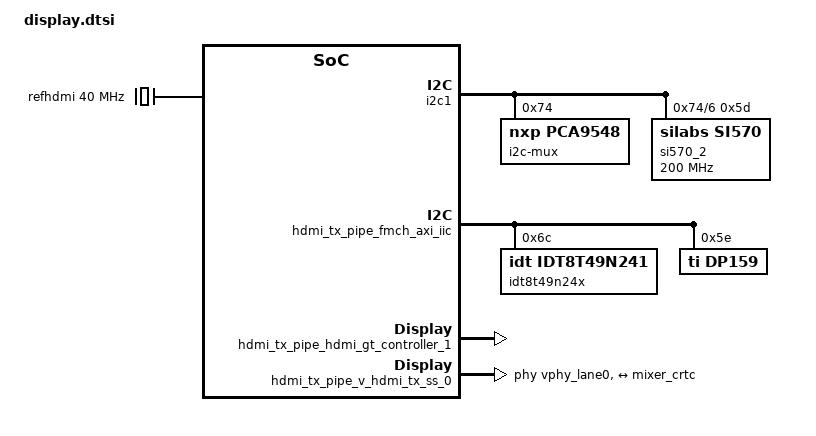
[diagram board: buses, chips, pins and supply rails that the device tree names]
&i2c1 {
	i2c-mux@74 {
		compatible = "nxp,pca9548";
		#address-cells = <1>;
		#size-cells = <0>;
		reg = <0x74>;

		i2c@6 {
			#address-cells = <1>;
			#size-cells = <0>;
			reg = <6>;
			si570_2: clock-generator@5d {
				#clock-cells = <0>;
				compatible = "silabs,si570";
				reg = <0x5d>;
				temperature-stability = <50>;
				factory-fout = <156250000>;
				clock-frequency = <200000000>;
				clock-output-names = "si570_mgt";
			};
		};
	};
};

&amba_pl {
	display_pipe_v_mix_0: v_mix@a4040000 {
		clock-names = "ap_clk";
		clocks = <&misc_clk_0>;
		compatible = "xlnx,mixer-5.0";
		interrupt-names = "interrupt";
		interrupt-parent = <&gic>;
		interrupts = <0 86 4>;
		reg = <0x0 0xa4040000 0x0 0x10000>;
		reset-gpios = <&gpio0 26 1>;
		xlnx,bpc = <8>;
		xlnx,dma-addr-width = <32>;
		xlnx,num-layers = <10>;
		xlnx,ppc = <4>;
		crtc_mixer_port: port@0 {
			reg = <0>;
			mixer_crtc: endpoint {
			        remote-endpoint = <&hdmi_encoder>;
			};
		};
		xx_mix_master: layer_0 {
			/*dmas = <&v_frmbuf_rd 0>;
			dma-names = "dma0";*/
			xlnx,layer-id = <0>;
			xlnx,layer-max-height = <2160>;
			xlnx,layer-max-width = <3840>;
			/*xlnx,layer-streaming;*/
			xlnx,vformat = "RG24";
		};
		xx_mix_overlay_1: layer_1 {
			xlnx,layer-alpha ;
			xlnx,layer-id = <1>;
			xlnx,layer-max-width = <3840>;
			xlnx,vformat = "BG24";
		};
		xx_mix_overlay_2: layer_2 {
			xlnx,layer-alpha ;
			xlnx,layer-id = <2>;
			xlnx,layer-max-width = <3840>;
			xlnx,vformat = "BG24";
		};
		xx_mix_overlay_3: layer_3 {
			xlnx,layer-alpha ;
			xlnx,layer-id = <3>;
			xlnx,layer-max-width = <3840>;
			xlnx,vformat = "BG24";
		};
		xx_mix_overlay_4: layer_4 {
			xlnx,layer-alpha ;
			xlnx,layer-id = <4>;
			xlnx,layer-max-width = <3840>;
			xlnx,vformat = "BG24";
		};
		xx_mix_overlay_5: layer_5 {
			xlnx,layer-alpha ;
			xlnx,layer-id = <5>;
			xlnx,layer-max-width = <3840>;
			xlnx,vformat = "YUYV";
		};
		xx_mix_overlay_6: layer_6 {
			xlnx,layer-alpha ;
			xlnx,layer-id = <6>;
			xlnx,layer-max-width = <3840>;
			xlnx,vformat = "YUYV";
		};
		xx_mix_overlay_7: layer_7 {
			xlnx,layer-alpha ;
			xlnx,layer-id = <7>;
			xlnx,layer-max-width = <3840>;
			xlnx,vformat = "YUYV";
		};
		xx_mix_overlay_8: layer_8 {
			xlnx,layer-alpha ;
			xlnx,layer-id = <8>;
			xlnx,layer-max-width = <3840>;
			xlnx,vformat = "YUYV";
		};
		xx_mix_overlay_9: layer_9 {
			xlnx,layer-alpha ;
			xlnx,layer-id = <9>;
			xlnx,layer-max-width = <3840>;
			xlnx,vformat = "AR24";
			xlnx,layer-primary;
		};
	};

	refhdmi: refhdmi {
		compatible = "fixed-clock";
		#clock-cells = <0>;
		clock-frequency = <40000000>;
	};

	hdmi_tx_pipe_fmch_axi_iic: i2c@a4010000 {
		#address-cells = <1>;
		#size-cells = <0>;
		clock-names = "s_axi_aclk";
		clocks = <&versal_clk 65>;
		compatible = "xlnx,axi-iic-2.0", "xlnx,xps-iic-2.00.a";
		reg = <0x0 0xa4010000 0x0 0x10000>;
		interrupt-names = "iic2intc_irpt";
		interrupt-parent = <&gic>;
		interrupts = <0 87 4>;

		idt8t49n24x: clock-generator@6c {
			status = "okay";
			compatible = "idt,idt8t49n241";
			#clock-cells = <1>;
			reg = <0x6c>;

			clocks = <&refhdmi>;
			clock-names = "input-xtal";

			settings = [
				09 50 00 60 67 c5 6c 01 03 00 31 00 01 40 00 01 40 00 74 04 00 74 04 77 6d 00 00 00 00 00 00 ff
				ff ff ff 01 3f 00 2e 00 0d 00 00 00 01 00 00 d0 08 00 00 00 00 00 08 00 00 00 00 00 00 44 44 00
				00 00 00 00 00 00 00 00 00 00 00 00 00 00 00 00 00 00 00 00 00 00 00 00 00 00 00 00 00 00 00 00
				00 00 00 00 00 00 00 00 e9 0a 2b 20 00 00 00 0f 00 00 00 0e 00 00 0e 00 00 00 27 00 00 00 00 00
				00 00 00 00 00 00 00 00 00 00 00 00 00 00 00 00 00 00 00 00 00 00 00 00 00 00 00 00 00 00 00 00
				00 00 00 00 00 00 00 00 00 00 00 00 00 00 00 00 00 00 00 00 00 00 00 00 00 00 00 00 00 00 00 00
				00 00 00 00 00 00 00 00 00 00 00 00 00 00 00 00 00 00 00 00 00 00 00 00 00 00 00 00 00 00 00 00
				00 00 00 00 00 00 00 00 00 00 00 00 00 00 00 00 00 00 00 00 00 00 00 00 00 00 00 00 00 00 00 00
				00 00 00 00 00 00 00 00 00 00 00 00 00 00 00 00 00 00 00 00 00 00 00 00 00 00 00 00 00 00 00 00
				00 00 00 00 00 00 00 00 00 00 00 00 00 00 00 00 00 00 00 00 00 00 00 00 00 00 00 00 00 00 00 00
				00 00 00 00 00 00 00 00 00 00 00 00 00 00 00 00 00 00 00 00 00 00 00 00 00 00 00 00 00 00 00 00
				00 00 00 00 00 00 00 00 00 00 00 00 00 00 00 00 00 00 00 00 00 00 00 00 00 00 00 00 00 00 00 00
				00 00 00 00 00 00 00 00 00 00 00 00 00 00 00 00 00 00 00 00 00 00 00 00 00 00 00 00 00 00 00 00
				00 00 00 00 00 00 00 00 00 00 00 00 00 00 00 00 00 00 00 00 00 00 00 00 00 00 00 00 00 00 00 00
				00 00 00 00 00 00 00 00 00 00 00 00 00 00 00 00 00 00 00 00 00 00 00 00 00 00 00 00 00 00 00 00
				00 00 00 00 00 00 00 00 00 00 00 00 00 00 00 00 00 00 00 00 00 00 00 00 00 00 00 00 00 00 00 00
				e3 00 08 01 00 00 00 00 00 00 00 00 00 b0 00 00 00 0a 00 00 00 00 00 00 00 00 00 00 00 00 00 00
				00 00 00 00 00 00 00 00 00 00 00 00 00 00 00 00 00 00 00 00 00 00 00 00 00 00 00 00 00 00 00 00
				00 00 00 00 00 00 00 00 00 00 00 00 00 00 00 00 00 00 00 00 00 00 00 00 00 00 00 00 00 00 00 00
				00 00 00 00 00 00 00 00 00 00 00 00 00 00 00 00 00 00 00 00 00 00 00 00 00 00 00 00 00 00 00 00
				00 00 00 00 00 00 00 00 00 00 00 00 00 00 00 00 00 00 00 00 00 00 00 00 00 00 00 00 00 00 00 00
				00 00 00 00 00 00 00 00 00 00 00 00 00 00 00 00 00 00 00 00 00 00 00 00 00 00 00 00 00 00 00 00
				00 00 00 00 00 00 00 00 00 00 00 00 00 00 00 00 00 00 00 00 00 00 00 00 00 00 00 00 00 00 00 00
				00 00 00 00 00 00 00 00 00 00 00 00 00 00 00 00 00 00 00 00 00 00 00 00 00 00 00 00 00 00 00 00
				00 00 00 00 85 00 00 9c 01 d4 02 71 07 00 00 00 00 83 00 10 02 08 8c
				];
		};

		dp159: hdmi-retimer@5e {
			status = "okay";
			compatible = "ti,dp159";
			reg = <0x5e>;
			#address-cells = <1>;
			#size-cells = <0>;
			#clock-cells = <0>;
		};
	};

	hdmi_tx_pipe_hdmi_gt_controller_1: hdmi_gt_controller@a4000000 {
		clock-names = "gt_refclk1_odiv2", "sb_aclk", "axi4lite_aclk", "apb_clk", "dru-clk";
		clocks = <&misc_clk_1>, <&versal_clk 65>, <&versal_clk 65>, <&versal_clk 65>, <&si570_2>;
		compatible = "xlnx,hdmi-gt-controller-1.0";
		interrupt-names = "irq";
		interrupt-parent = <&gic>;
		interrupts = <0 84 4>;
		reg = <0x0 0xa4000000 0x0 0x10000>;
		xlnx,axi4lite-enable = "true";
		xlnx,component-name = "exdes_hdmi_gt_controller_1_0";
		xlnx,device = "xcvc1902";
		xlnx,dru-gain-g1 = <0x9>;
		xlnx,dru-gain-g1-p = <0x10>;
		xlnx,dru-gain-g2 = <0x4>;
		xlnx,dru-refclk-fabric-buffer = "none";
		xlnx,dru-refclk-freq-mhz = "400.00";
		xlnx,err-irq-en = <0x0>;
		xlnx,for-upgrade-architecture = "versal";
		xlnx,for-upgrade-device = "xc10M45";
		xlnx,for-upgrade-package = "vsva2148";
		xlnx,for-upgrade-part = "xc10M45-vsva2148-3-e-es1";
		xlnx,for-upgrade-speedgrade = "-1LP";
		xlnx,gt-debug-port-en = <0x1>;
		xlnx,hdmi-fast-switch = <0x0>;
		xlnx,input-pixels-per-clock = <0x4>;
		xlnx,int-hdmi-ver-cmptble = <0x3>;
		xlnx,nidru = <0x1>;
		xlnx,nidru-refclk-sel = <0x2>;
		xlnx,rx-frl-refclk-sel = <0x2>;
		xlnx,rx-gt-debug-ports = "false";
		xlnx,rx-no-of-channels = <0x4>;
		xlnx,rx-outclk-buffer = "none";
		xlnx,rx-pll-selection = <0x8>;
		xlnx,rx-protocol = <0x3>;
		xlnx,rx-raw-mode-en = "false";
		xlnx,rx-refclk-sel = <0x0>;
		xlnx,rx-sb-ports = "true";
		xlnx,rx-tmds-clk-buffer = "bufg";
		xlnx,rx-video-clk-buffer = "bufg";
		xlnx,silicon-revision = <0x0>;
		xlnx,sim-level = <0x0>;
		xlnx,speedgrade = "-1LP";
		xlnx,supportlevel = <0x1>;
		xlnx,transceivercontrol = "false";
		xlnx,tx-frl-refclk-sel = <0x2>;
		xlnx,tx-gt-debug-ports = "false";
		xlnx,tx-no-of-channels = <0x4>;
		xlnx,tx-outclk-buffer = "none";
		xlnx,tx-pll-selection = <0x7>;
		xlnx,tx-protocol = <0x1>;
		xlnx,tx-raw-mode-en = "false";
		xlnx,tx-refclk-fabric-buffer = "none";
		xlnx,tx-refclk-sel = <0x1>;
		xlnx,tx-sb-ports = "true";
		xlnx,tx-tmds-clk-buffer = "bufg";
		xlnx,tx-video-clk-buffer = "bufg";
		xlnx,txpi-port-en = "false";
		xlnx,txrefclk-rdy-invert = <0x1>;
		xlnx,use-gt-ch4-hdmi = <0x1>;
		xlnx,use-oddr-for-tmds-clkout = "true";
		xlnx,vid-phy-axi4lite-addr-width = <0xa>;
		xlnx,vid-phy-axi4lite-data-width = <0x20>;
		xlnx,vid-phy-control-sb-rx-tdata-width = <0x1>;
		xlnx,vid-phy-control-sb-tx-tdata-width = <0x1>;
		xlnx,vid-phy-rx-axi4s-ch-int-tdata-width = <0x28>;
		xlnx,vid-phy-rx-axi4s-ch-tdata-width = <0x28>;
		xlnx,vid-phy-rx-axi4s-ch-tuser-width = <0x1>;
		xlnx,vid-phy-status-sb-rx-tdata-width = <0x1>;
		xlnx,vid-phy-status-sb-tx-tdata-width = <0x2>;
		xlnx,vid-phy-tx-axi4s-ch-int-tdata-width = <0x28>;
		xlnx,vid-phy-tx-axi4s-ch-tdata-width = <0x28>;
		xlnx,vid-phy-tx-axi4s-ch-tuser-width = <0x1>;

		xlnx,transceiver-type = <7>;
		xlnx,transceiver-width = <4>;
		xlnx,tx-buffer-bypass = <1>;

		vphy_lane0: vphy_lane@0 {
			#phy-cells = <4>;
		};
		vphy_lane1: vphy_lane@1 {
			#phy-cells = <4>;
		};
		vphy_lane2: vphy_lane@2 {
			#phy-cells = <4>;
		};
		vphy_lane3: vphy_lane@3 {
			#phy-cells = <4>;
		};
	};

	hdmi_tx_pipe_v_hdmi_tx_ss_0: v_hdmi_tx_ss@a4020000 {
		clock-names = "s_axi_cpu_aclk", "s_axis_audio_aclk", "video_clk", "s_axis_video_aclk", "txref-clk", "retimer-clk";
		clocks = <&versal_clk 65>, <&misc_clk_0>, <&misc_clk_3>, <&misc_clk_0>, <&idt8t49n24x 2>, <&dp159>;
		compatible = "xlnx,v-hdmi-tx-ss-3.1", "xlnx,v-hdmi-tx-ss-3.1";
		interrupt-names = "irq";
		interrupt-parent = <&gic>;
		interrupts = <0 85 4>;
		phy-names = "hdmi-phy0", "hdmi-phy1", "hdmi-phy2", "hdmi-phy3";
		phys = <&vphy_lane0 0 1 1 1>, <&vphy_lane1 0 1 1 1>, <&vphy_lane2 0 1 1 1>, <&vphy_lane3 0 1 1 1>;
		reg = <0x0 0xa4020000 0x0 0x20000>;
		reg-names = "hdmi-txss";
		xlnx,input-pixels-per-clock = <4>;
		xlnx,max-bits-per-component = <8>;

		hdmitx_ports: ports {
			#address-cells = <1>;
			#size-cells = <0>;
			encoder_hdmi_port: port@0 {
				reg = <0>;
				hdmi_encoder: endpoint {
				        remote-endpoint = <&mixer_crtc>;
				};
			};
		};
	};
};
